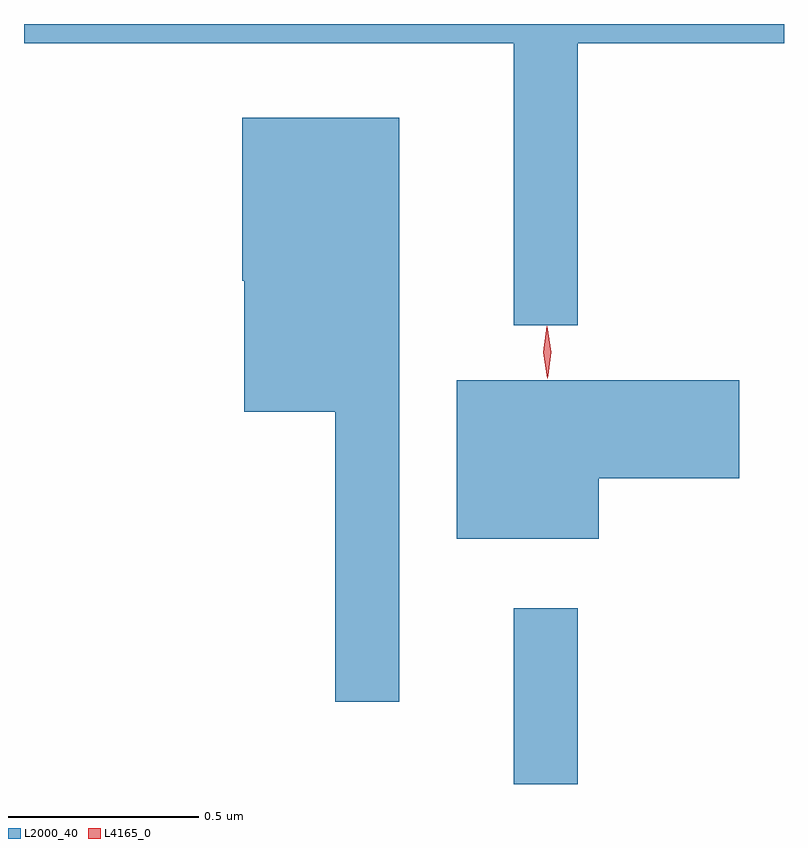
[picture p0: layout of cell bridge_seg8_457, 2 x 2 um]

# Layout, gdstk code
import gdstk
lib = gdstk.Library(unit=1e-6, precision=1e-09)
def R(c, l, rs):  # rectangles x0, y0, x1, y1
    for r in rs: c.add(gdstk.rectangle(r[:2], r[2:], *l))
def P(c, l, *ps):  # polygons
    for p in ps: c.add(gdstk.Polygon(p, *l))
L2000_40 = (2000, 40)
L4165_0 = (4165, 0)

bridge_seg8_457 = lib.new_cell('bridge_seg8_457')
R(bridge_seg8_457, L2000_40, [(601.181,1885.526,601.349,1885.988)])
P(bridge_seg8_457, L2000_40, [(601.349,1887.476),(601.892,1887.476),(601.892,1887.526),(599.892,1887.526),(599.892,1887.476),(601.181,1887.476),(601.181,1886.733),(601.349,1886.733)],
  [(600.879,1887.279),(600.466,1887.279),(600.466,1886.85),(600.471,1886.85),(600.471,1886.506),(600.711,1886.506),(600.711,1885.743),(600.879,1885.743)],
  [(601.404,1886.331),(601.774,1886.331),(601.774,1886.589),(601.031,1886.589),(601.031,1886.171),(601.404,1886.171)])
P(bridge_seg8_457, L4165_0, [(601.269,1886.594),(601.259,1886.662),(601.268,1886.73),(601.269,1886.73),(601.269,1886.73),(601.279,1886.662),(601.27,1886.594),(601.27,1886.594)],
  [(601.27,1886.6),(601.27,1886.601),(601.26,1886.664),(601.268,1886.726),(601.269,1886.727),(601.269,1886.726),(601.279,1886.664),(601.271,1886.601)])

lib.write_gds('bridge_seg8_457.gds')
